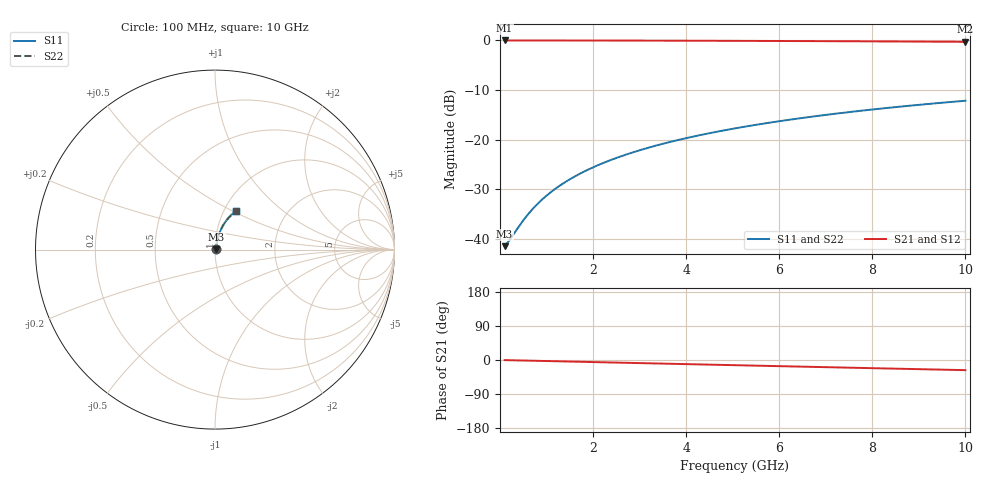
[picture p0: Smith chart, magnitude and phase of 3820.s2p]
# Hz S RI R 50.00
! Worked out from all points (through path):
!   100 points, 100 MHz to 10 GHz, reference 50 ohm
!   highest |S21| = -0.07 dB at 100 MHz (marker M1); lowest = -0.3 dB at 10 GHz (marker M2)
!   group delay of S21, straight-line fit = 7.44 ps
!   lowest |S11| = -41.5 dB at 100 MHz (marker M3), VSWR 1.02, Z = 50.8 + j0.26 ohm
!   |S11| at or under -10 dB: start of sweep to end of sweep
!   |S22| runs from -41.5 to -12.2 dB; largest |S21 - S12| = 0
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1e8  0.00806 0.00256  0.9919 -0.00472  0.9919 -0.00472  0.00806 0.00256
2e8  0.00815 0.00512  0.9918 -0.00944  0.9918 -0.00944  0.00815 0.00512
4e8  0.00836 0.0102  0.9916 -0.0189  0.9916 -0.0189  0.00836 0.0102
5e8  0.0085 0.0128  0.9914 -0.0236  0.9914 -0.0236  0.0085 0.0128
6e8  0.00866 0.0153  0.9912 -0.0283  0.9912 -0.0283  0.00866 0.0153
7e8  0.00884 0.0179  0.991 -0.033  0.991 -0.033  0.00884 0.0179
9e8  0.00926 0.023  0.9905 -0.0424  0.9905 -0.0424  0.00926 0.023
1.1e9  0.00978 0.0281  0.9899 -0.0519  0.9899 -0.0519  0.00978 0.0281
1.3e9  0.0104 0.0331  0.9892 -0.0613  0.9892 -0.0613  0.0104 0.0331
1.5e9  0.0111 0.0382  0.9883 -0.0706  0.9883 -0.0706  0.0111 0.0382
1.8e9  0.0123 0.0457  0.9869 -0.0847  0.9869 -0.0847  0.0123 0.0457
2.1e9  0.0138 0.0533  0.9851 -0.0987  0.9851 -0.0987  0.0138 0.0533
2.5e9  0.016 0.0632  0.9825 -0.1173  0.9825 -0.1173  0.016 0.0632
2.9e9  0.0186 0.073  0.9793 -0.1358  0.9793 -0.1358  0.0186 0.073
3.4e9  0.0224 0.0852  0.9748 -0.1588  0.9748 -0.1588  0.0224 0.0852
4.2e9  0.0297 0.1041  0.9661 -0.195  0.9661 -0.195  0.0297 0.1041
5.1e9  0.0394 0.1246  0.9543 -0.2351  0.9543 -0.2351  0.0394 0.1246
5.9e9  0.0495 0.1419  0.9422 -0.2698  0.9422 -0.2698  0.0495 0.1419
6.7e9  0.0607 0.1584  0.9285 -0.3037  0.9285 -0.3037  0.0607 0.1584
7.5e9  0.0731 0.1739  0.9134 -0.3366  0.9134 -0.3366  0.0731 0.1739
8.4e9  0.0882 0.1901  0.8948 -0.3724  0.8948 -0.3724  0.0882 0.1901
1e10  0.1179 0.2153  0.858 -0.4326  0.858 -0.4326  0.1179 0.2153
